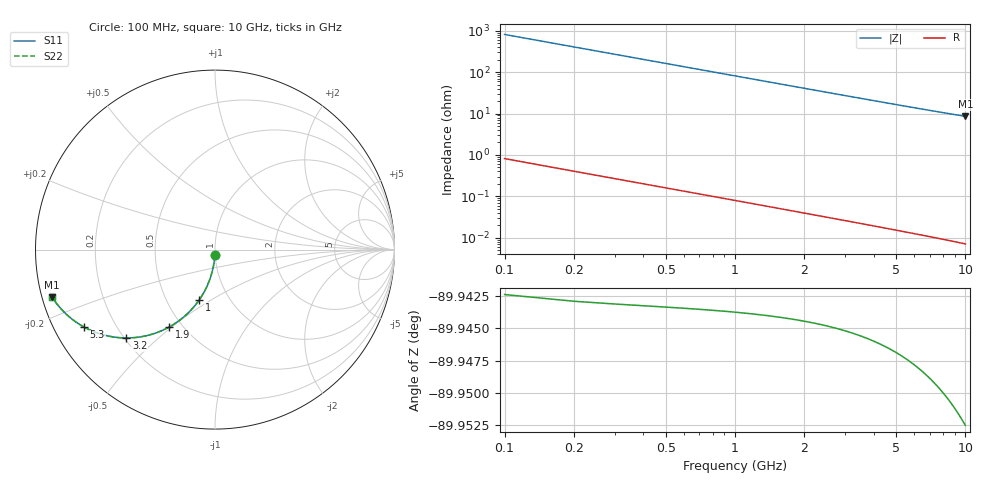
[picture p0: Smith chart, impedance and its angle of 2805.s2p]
# Hz S RI R 50.00
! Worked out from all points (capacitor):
!   100 points, 100 MHz to 10 GHz, reference 50 ohm
!   read as one part in shunt: C = 1.96 pF near 100 MHz
!   lowest |Z| = 8.56 ohm at 10 GHz (marker M1)
!   S11 on the Smith chart (normalised r, x): 100 MHz: 1.00, -0.06; 1 GHz: 0.73, -0.44; 1.9 GHz: 0.42, -0.49; 3.2 GHz: 0.21, -0.40; 5.3 GHz: 0.09, -0.27; 10 GHz: 0.03, -0.14
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1e8  -0.000935 -0.0306  0.999 -0.031  0.999 -0.031  -0.000935 -0.0306
2e8  -0.00381 -0.061  0.9961 -0.0619  0.9961 -0.0619  -0.00381 -0.061
3e8  -0.00853 -0.0911  0.9914 -0.0924  0.9914 -0.0924  -0.00853 -0.0911
4e8  -0.0151 -0.1206  0.9848 -0.1224  0.9848 -0.1224  -0.0151 -0.1206
5e8  -0.0233 -0.1495  0.9766 -0.1517  0.9766 -0.1517  -0.0233 -0.1495
6e8  -0.0332 -0.1776  0.9667 -0.1802  0.9667 -0.1802  -0.0332 -0.1776
7e8  -0.0447 -0.2047  0.9552 -0.2078  0.9552 -0.2078  -0.0447 -0.2047
8e8  -0.0576 -0.2307  0.9423 -0.2343  0.9423 -0.2343  -0.0576 -0.2307
1e9  -0.0871 -0.2793  0.9128 -0.2837  0.9128 -0.2837  -0.0871 -0.2793
1.2e9  -0.1207 -0.3227  0.8792 -0.328  0.8792 -0.328  -0.1207 -0.3227
1.4e9  -0.1574 -0.3606  0.8425 -0.3668  0.8425 -0.3668  -0.1574 -0.3606
1.8e9  -0.2358 -0.42  0.7641 -0.4281  0.7641 -0.4281  -0.2358 -0.42
1.9e9  -0.2558 -0.4316  0.744 -0.4401  0.744 -0.4401  -0.2558 -0.4316
2.5e9  -0.3731 -0.4775  0.6268 -0.4887  0.6268 -0.4887  -0.3731 -0.4775
3.2e9  -0.4937 -0.4923  0.5061 -0.5067  0.5061 -0.5067  -0.4937 -0.4923
3.4e9  -0.524 -0.4913  0.4757 -0.5066  0.4757 -0.5066  -0.524 -0.4913
4.2e9  -0.6271 -0.4735  0.3726 -0.4925  0.3726 -0.4925  -0.6271 -0.4735
5.1e9  -0.713 -0.4402  0.2867 -0.4634  0.2867 -0.4634  -0.713 -0.4402
5.3e9  -0.7285 -0.432  0.2711 -0.4562  0.2711 -0.4562  -0.7285 -0.432
6.7e9  -0.8116 -0.3749  0.1879 -0.4057  0.1879 -0.4057  -0.8116 -0.3749
8.4e9  -0.8721 -0.3134  0.1271 -0.3526  0.1271 -0.3526  -0.8721 -0.3134
1e10  -0.9069 -0.2656  0.0919 -0.3129  0.0919 -0.3129  -0.9069 -0.2656
